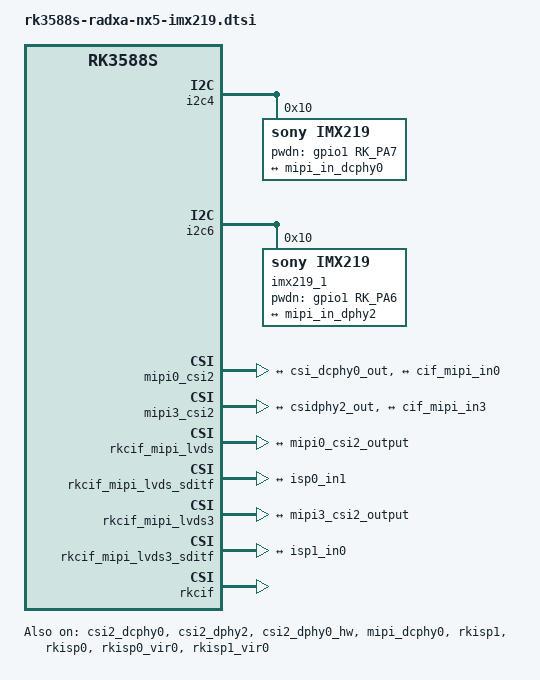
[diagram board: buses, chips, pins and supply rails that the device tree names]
// SPDX-License-Identifier: (GPL-2.0+ OR MIT)
/*
 * Copyright (c) 2021 Rockchip Electronics Co., Ltd.
 *
 */


&csi2_dcphy0 {
	status = "okay";

	ports {
		#address-cells = <1>;
		#size-cells = <0>;
		port@0 {
			reg = <0>;
			#address-cells = <1>;
			#size-cells = <0>;

			mipi_in_dcphy0: endpoint@1 {
				reg = <1>;
				remote-endpoint = <&imx219_out0>;
				data-lanes = <1 2>;
			};
		};

		port@1 {
			reg = <1>;
			#address-cells = <1>;
			#size-cells = <0>;

			csi_dcphy0_out: endpoint@0 {
				reg = <0>;
				remote-endpoint = <&mipi0_csi2_input>;
			};
		};
	};
};


&csi2_dphy2 {
	status = "okay";

	ports {
		#address-cells = <1>;
		#size-cells = <0>;
		port@0 {
			reg = <0>;
			#address-cells = <1>;
			#size-cells = <0>;

			mipi_in_dphy2: endpoint@1 {
				reg = <1>;
				remote-endpoint = <&imx219_out1>;
				data-lanes = <1 2>;
			};
		};
		port@1 {
			reg = <1>;
			#address-cells = <1>;
			#size-cells = <0>;

			csidphy2_out: endpoint@0 {
				reg = <0>;
				remote-endpoint = <&mipi3_csi2_input>;
			};
		};
	};
};

&pinctrl {

	pinctrl-name = "default";
	pinctrl-0 = <&mipim0_camera0_clk>;
	
};

&pinctrl {
		pinctrl-names = "default";
		pinctrl-0 = <&mipim0_camera0_clk>;
};
>>>>>>> afb7b112bf71 (dts :nx5_rkr14 : imx219)

&i2c4 {
	status = "okay";
	pinctrl-names = "default";
	pinctrl-0 = <&i2c4m2_xfer>;

	imx219: imx219@10 {
		compatible = "sony,imx219";
		reg = <0x10>;
		clocks = <&cru CLK_MIPI_CAMARAOUT_M0>;
		clock-names = "xvclk";
		power-domains = <&power RK3588_PD_VI>;
		pwdn-gpios = <&gpio1 RK_PA7 GPIO_ACTIVE_HIGH>;
		//reset-gpios = <&gpio4 RK_PB1 GPIO_ACTIVE_LOW>;
		//avdd-supply = <&vcc_mipidphy0>;
		rockchip,camera-module-index = <0>;
		rockchip,camera-module-facing = "back";
		rockchip,camera-module-name = "rpi-camera-v2";
		rockchip,camera-module-lens-name = "default";
		//lens-focus = <&cam_ircut0>;
		port {
			imx219_out0: endpoint {
				remote-endpoint = <&mipi_in_dcphy0>;
				data-lanes = <1 2>;
			};
		};
	};
};


&i2c6 {
	status = "okay";
	pinctrl-names = "default";
	pinctrl-0 = <&i2c6m0_xfer>;

	imx219_1: imx219-1@10 {
		compatible = "sony,imx219";
		reg = <0x10>;
		clocks = <&cru CLK_MIPI_CAMARAOUT_M0>;
		clock-names = "xvclk";

		pinctrl-names = "default";
		power-domains = <&power RK3588_PD_VI>;
		pwdn-gpios = <&gpio1 RK_PA6 GPIO_ACTIVE_HIGH>;
		//reset-gpios = <&gpio4 RK_PB1 GPIO_ACTIVE_LOW>;
		//avdd-supply = <&vcc_mipidphy0>;
		rockchip,camera-module-index = <1>;
		rockchip,camera-module-facing = "front";
		rockchip,camera-module-name = "rpi-camera-v2";
		rockchip,camera-module-lens-name = "default";
		//lens-focus = <&cam_ircut0>;
		port {
			imx219_out1: endpoint {
				remote-endpoint = <&mipi_in_dphy2>;
				data-lanes = <1 2>;
			};
		};
	};
};

&csi2_dphy0_hw {
	status = "okay";
};

&mipi_dcphy0 {
	status = "okay";
};

&mipi0_csi2 {
	status = "okay";

	ports {
		#address-cells = <1>;
		#size-cells = <0>;

		port@0 {
			reg = <0>;
			#address-cells = <1>;
			#size-cells = <0>;

			mipi0_csi2_input: endpoint@1 {
				reg = <1>;
				remote-endpoint = <&csi_dcphy0_out>;
			};
		};

		port@1 {
			reg = <1>;
			#address-cells = <1>;
			#size-cells = <0>;

			mipi0_csi2_output: endpoint@0 {
				reg = <0>;
				remote-endpoint = <&cif_mipi_in0>;
			};
		};
	};
};

&mipi3_csi2 {
	status = "okay";

	ports {
		#address-cells = <1>;
		#size-cells = <0>;

		port@0 {
			reg = <0>;
			#address-cells = <1>;
			#size-cells = <0>;

			mipi3_csi2_input: endpoint@1 {
				reg = <1>;
				remote-endpoint = <&csidphy2_out>;
			};
		};

		port@1 {
			reg = <1>;
			#address-cells = <1>;
			#size-cells = <0>;

			mipi3_csi2_output: endpoint@0 {
				reg = <0>;
				remote-endpoint = <&cif_mipi_in3>;
			};
		};
	};
};


&rkcif_mipi_lvds {
	status = "okay";

	port {
		cif_mipi_in0: endpoint {
			remote-endpoint = <&mipi0_csi2_output>;
		};
	};
};

&rkcif_mipi_lvds_sditf {
	status = "okay";

	port {
		mipi_lvds_sditf: endpoint {
			remote-endpoint = <&isp0_in1>;
		};
	};
};

&rkcif_mipi_lvds3 {
	status = "okay";

	port {
		cif_mipi_in3: endpoint {
			remote-endpoint = <&mipi3_csi2_output>;
		};
	};
};

&rkcif_mipi_lvds3_sditf {
	status = "okay";

	port {
		mipi_lvds3_sditf: endpoint {
			remote-endpoint = <&isp1_in0>;
		};
	};
};

&rkcif {
	status = "okay";
};

&rkcif_mmu {
	status = "okay";
};

&rkisp1 {
	status = "okay";
};

&isp1_mmu {
	status = "okay";
};

&rkisp0 {
	status = "okay";
};

&isp0_mmu {
	status = "okay";
};

&rkisp0_vir0 {
	status = "okay";
	port {
		#address-cells = <1>;
		#size-cells = <0>;

		isp0_in1: endpoint@0 {
			reg = <0>;
			remote-endpoint = <&mipi_lvds_sditf>;
		};
	};
};

&rkisp1_vir0 {
	status = "okay";
	port {
		#address-cells = <1>;
		#size-cells = <0>;

		isp1_in0: endpoint@1 {
			reg = <1>;
			remote-endpoint = <&mipi_lvds3_sditf>;
		};
	};
};
